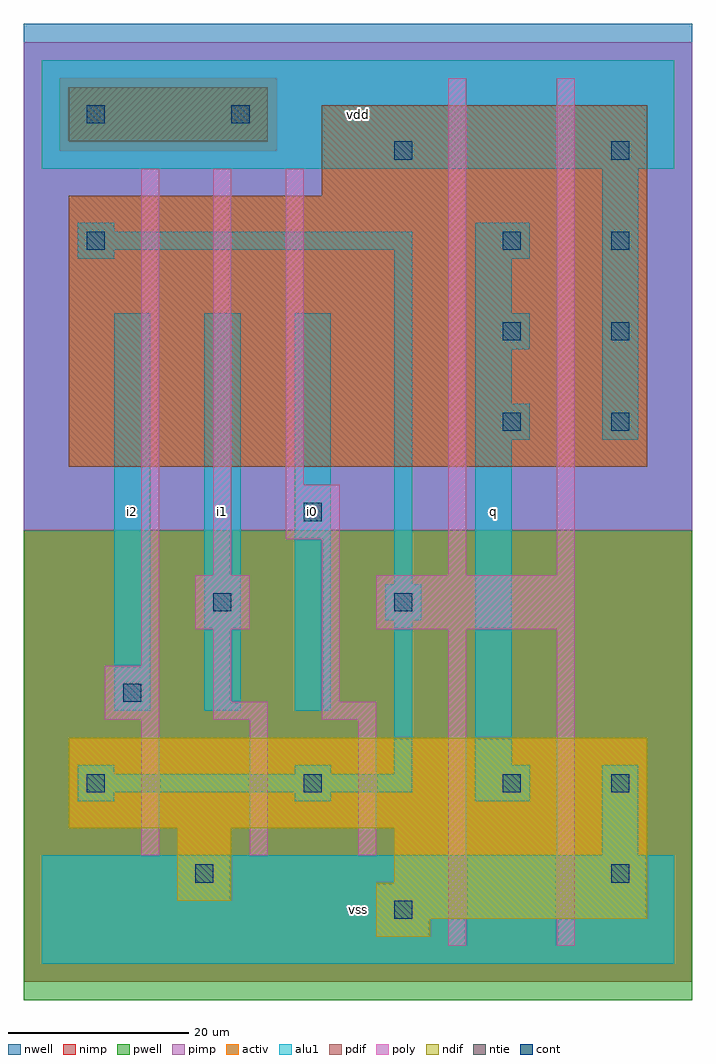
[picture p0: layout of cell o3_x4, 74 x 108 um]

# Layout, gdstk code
import gdstk
lib = gdstk.Library(unit=1e-6, precision=1e-09)
def R(c, l, rs):  # rectangles x0, y0, x1, y1
    for r in rs: c.add(gdstk.rectangle(r[:2], r[2:], *l))
def A(c, l, x, y, w, h, nx, ny, dx, dy):  # array of equal rectangles
    R(c, l, [(x+i*dx, y+j*dy, x+i*dx+w, y+j*dy+h) for i in range(nx) for j in range(ny)])
ndif = (3, 0)
pdif = (4, 0)
ntie = (5, 0)
cont = (25, 0)
pwell = (41, 0)
nwell = (42, 0)
activ = (43, 0)
pimp = (44, 0)
nimp = (45, 0)
poly = (46, 0)
alu1 = (49, 0)

o3_x4 = lib.new_cell('o3_x4')
R(o3_x4, ndif, [(37,3,43,5), (37,5,67,9), (15,7,21,15), (39,9,67,15), (3,15,67,25)])
R(o3_x4, pdif, [(3,55,67,85), (31,85,67,95)])
R(o3_x4, ntie, [(3,91,25,97)])
A(o3_x4, cont, 51, 59, 2, 2, 1, 3, 0, 10)
A(o3_x4, cont, 63, 59, 2, 2, 1, 4, 0, 10)
R(o3_x4, cont, [(39,5,41,7), (17,9,19,11), (63,9,65,11), (5,19,7,21), (29,19,31,21), (51,19,53,21), (63,19,65,21), (9,29,11,31), (19,39,21,41), (39,39,41,41), (29,49,31,51), (5,79,7,81), (39,89,41,91), (5,93,7,95), (21,93,23,95)])
R(o3_x4, pwell, [(-2,-4,72,48)])
R(o3_x4, nwell, [(-2,48,72,104)])
R(o3_x4, activ, [(37,3,43,5), (37,5,67,9), (15,7,21,15), (39,9,67,15), (3,15,67,25), (3,55,67,85), (31,85,67,95), (3,91,25,97)])
R(o3_x4, pimp, [(-2,48,72,90), (-2,90,2,98), (26,90,72,98), (-2,98,72,102)])
R(o3_x4, nimp, [(-2,-2,72,48), (2,90,26,98)])
A(o3_x4, poly, 11, 12, 2, 15, 3, 1, 12, 0)
R(o3_x4, poly, [(45,2,47,37), (57,2,59,37), (7,27,13,33), (19,27,25,29), (31,27,37,29), (19,29,21,37), (31,29,33,47), (11,33,13,88), (17,37,23,43), (37,37,59,43), (19,43,21,88), (45,43,47,98), (57,43,59,98), (27,47,33,53), (27,53,29,88)])
A(o3_x4, alu1, 8, 28, 4, 44, 3, 1, 10, 0)
A(o3_x4, alu1, 48, 58, 6, 4, 1, 3, 0, 10)
R(o3_x4, alu1, [(0,0,70,12), (62,12,66,22), (4,18,8,19), (28,18,32,19), (48,18,54,22), (4,19,41,21), (4,21,8,22), (28,21,32,22), (39,21,41,38), (48,22,52,58), (38,38,42,42), (39,42,41,79), (62,58,66,88), (48,62,52,68), (48,72,52,78), (4,78,8,79), (4,79,41,81), (4,81,8,82), (0,88,70,100)])
o3_x4.add(gdstk.Label('i2', (10,50), layer=49, texttype=0))
o3_x4.add(gdstk.Label('i0', (30,50), layer=49, texttype=0))
o3_x4.add(gdstk.Label('i1', (20,50), layer=49, texttype=0))
o3_x4.add(gdstk.Label('vss', (35,6), layer=49, texttype=0))
o3_x4.add(gdstk.Label('q', (50,50), layer=49, texttype=0))
o3_x4.add(gdstk.Label('vdd', (35,94), layer=49, texttype=0))

lib.write_gds('o3_x4.gds')
